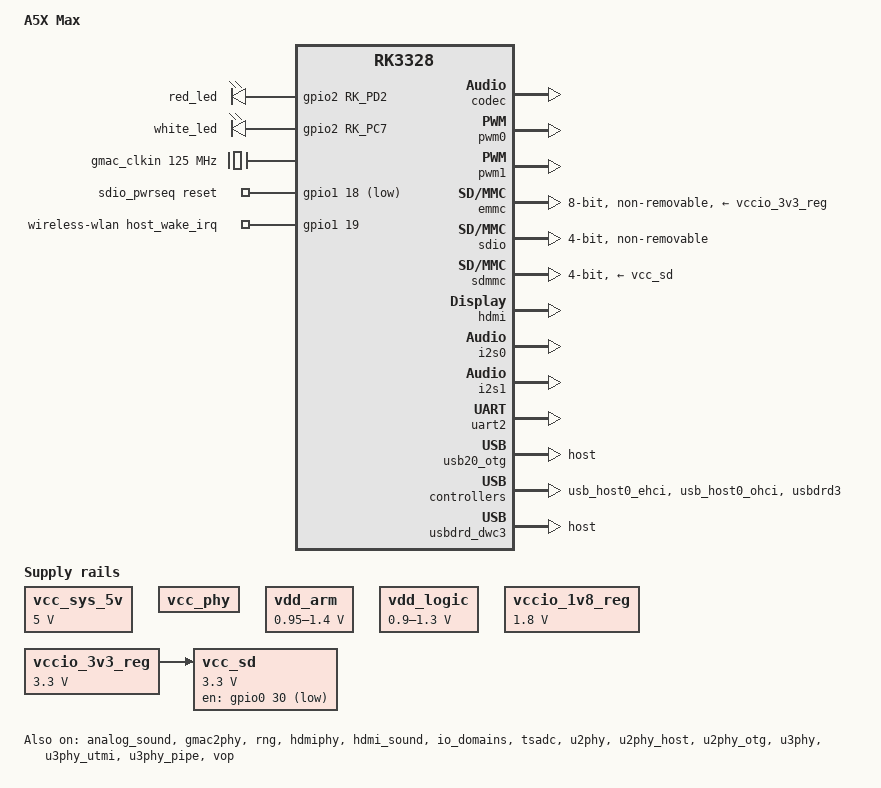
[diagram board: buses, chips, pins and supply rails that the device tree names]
// SPDX-License-Identifier: (GPL-2.0+ OR MIT)
/*
 * Copyright (c) 2017 PINE64
 */

/dts-v1/;
#include "rk3328.dtsi"

/ {
	model = "A5X Max";
	compatible = "hugsun,a5x max", "rockchip,rk3328";

    aliases {
		mmc0 = &emmc;
		mmc1 = &sdmmc;
		mmc2 = &sdio;
	};

	chosen {
		bootargs = "earlycon=uart8250,mmio32,0xff130000";
		stdout-path = "serial2:1500000n8";
	};

	leds {
		status = "okay";
		compatible = "gpio-leds";
		red-led {
			label = "red_led";
			gpios = <&gpio2 RK_PD2 GPIO_ACTIVE_HIGH>;
			linux,default-trigger = "mmc0";
			default-state = "on";
		};
		white-led {
			label = "white_led";
			gpios = <&gpio2 RK_PC7 GPIO_ACTIVE_HIGH>;
			linux,default-trigger = "none";
			default-state = "on";
		};
	};

	gmac_clkin: external-gmac-clock {
		compatible = "fixed-clock";
		clock-frequency = <125000000>;
		clock-output-names = "gmac_clkin";
		#clock-cells = <0>;
	};

	sdio_pwrseq: sdio-pwrseq {
		compatible = "mmc-pwrseq-simple";
		pinctrl-names = "default";
		pinctrl-0 = <&wifi_enable_h>;

		/*
		 * On the module itself this is one of these (depending
		 * on the actual card populated):
		 * - SDIO_RESET_L_WL_REG_ON
		 * - PDN (power down when low)
		 */
		reset-gpios = <&gpio1 18 GPIO_ACTIVE_LOW>;
	};

	vcc_sys_5v: vcc-sys-5v-regulator {
		compatible = "regulator-fixed";
		regulator-name = "vcc_sys_5v";
		regulator-min-microvolt = <5000000>;
		regulator-max-microvolt = <5000000>;
		regulator-always-on;
		regulator-boot-on;
	};

	vcc_phy: vcc-phy-regulator {
		compatible = "regulator-fixed";
		regulator-name = "vcc_phy";
		regulator-always-on;
		regulator-boot-on;
	};

	vcc_sd: sdmmc-regulator {
		compatible = "regulator-fixed";
		gpio = <&gpio0 30 GPIO_ACTIVE_LOW>;
		pinctrl-names = "default";
		pinctrl-0 = <&sdmmc0m1_pin>;
		regulator-name = "vcc_sd";
		regulator-min-microvolt = <3300000>;
		regulator-max-microvolt = <3300000>;
		vin-supply = <&vccio_3v3_reg>;
	};

	vdd_arm: vdd-center {
		compatible = "pwm-regulator";
		rockchip,pwm_id = <0>;
		rockchip,pwm_voltage = <1250000>;
		pwms = <&pwm0 0 5000 1>;
		regulator-name = "vcc_arm";
		regulator-min-microvolt = <950000>;
		regulator-max-microvolt = <1400000>;
		regulator-settling-time-up-us = <250>;
		regulator-ramp-delay = <12500>;
		regulator-always-on;
		regulator-boot-on;
	};

	vdd_logic: vdd-log {
		compatible = "pwm-regulator";
		rockchip,pwm_id = <1>;
		rockchip,pwm_voltage = <1100000>;
		pwms = <&pwm1 0 5000 1>;
		regulator-name = "vcc_log";
		regulator-min-microvolt = <900000>;
		regulator-max-microvolt = <1300000>;
		regulator-settling-time-up-us = <250>;
		regulator-ramp-delay = <12500>;
		regulator-always-on;
		regulator-boot-on;
	};

	regulators {
		compatible = "simple-bus";
		#address-cells = <1>;
		#size-cells = <0>;

		vccio_1v8_reg: regulator@0 {
			compatible = "regulator-fixed";
			regulator-name = "vccio_1v8";
			regulator-min-microvolt = <1800000>;
			regulator-max-microvolt = <1800000>;
			regulator-always-on;
		};

		vccio_3v3_reg: regulator@1 {
			compatible = "regulator-fixed";
			regulator-name = "vccio_3v3";
			regulator-min-microvolt = <3300000>;
			regulator-max-microvolt = <3300000>;
			regulator-always-on;
		};
	};

	wireless-wlan {
		compatible = "wlan-platdata";
		rockchip,grf = <&grf>;
		wifi_chip_type = "rtl8723bs";
		sdio_vref = <1800>;
		WIFI,host_wake_irq = <&gpio1 19 GPIO_ACTIVE_HIGH>;
		status = "okay";
	};
};

&analog_sound {
	status = "okay";
};

&codec {
	status = "okay";
};

&cpu0 {
	cpu-supply = <&vdd_arm>;
};

&cpu1 {
	cpu-supply = <&vdd_arm>;
};

&cpu2 {
	cpu-supply = <&vdd_arm>;
};

&cpu3 {
	cpu-supply = <&vdd_arm>;
};

&pwm0 {
	status = "okay";
};

&pwm1 {
	status = "okay";
};

&emmc {
	max-frequency = <150000000>;
	bus-width = <8>;
	cap-mmc-highspeed;
	mmc-hs200-1_8v;
	non-removable;
	num-slots = <1>;
	pinctrl-names = "default";
	pinctrl-0 = <&emmc_clk &emmc_cmd &emmc_bus8>;
	vmmc-supply = <&vccio_3v3_reg>;
	vqmmc-supply = <&vccio_1v8_reg>;
	status = "okay";
};

&sdio {
	bus-width = <4>;
	cap-sd-highspeed;
	cap-sdio-irq;
	keep-power-in-suspend;
	max-frequency = <150000000>;
	mmc-pwrseq = <&sdio_pwrseq>;
	non-removable;
	pinctrl-names = "default";
	pinctrl-0 = <&sdmmc1_bus4 &sdmmc1_cmd &sdmmc1_clk>;
	status = "okay";
};

&sdmmc {
	bus-width = <4>;
	cap-mmc-highspeed;
	cap-sd-highspeed;
	disable-wp;
	max-frequency = <150000000>;
	num-slots = <1>;
	pinctrl-names = "default";
	pinctrl-0 = <&sdmmc0_clk &sdmmc0_cmd &sdmmc0_dectn &sdmmc0_bus4>;
	supports-sd;
	status = "okay";
	vmmc-supply = <&vcc_sd>;
};

&gmac2phy {
	phy-supply = <&vcc_phy>;
	clock_in_out = "output";
	assigned-clock-rate = <50000000>;
    assigned-clocks = <&cru SCLK_MAC2PHY>;
	assigned-clock-parents = <&cru SCLK_MAC2PHY_SRC>;
	status = "okay";
};

&gmac2io {
	assigned-clocks = <&cru SCLK_MAC2IO>, <&cru SCLK_MAC2IO_EXT>;
	assigned-clock-parents = <&gmac_clkin>, <&gmac_clkin>;
	clock_in_out = "input";
	phy-handle = <&rtl8211f>;
	phy-supply = <&vccio_3v3_reg>;
	phy-mode = "rgmii";
	pinctrl-names = "default";
	pinctrl-0 = <&rgmiim1_pins>;
	snps,aal;
	snps,pbl = <0x4>;
	tx_delay = <0x26>;
	rx_delay = <0x11>;
	status = "disabled";

	mdio {
		compatible = "snps,dwmac-mdio";
		#address-cells = <1>;
		#size-cells = <0>;

		rtl8211f: ethernet-phy@0 {
			reg = <0>;
			reset-delay-us = <30000>;
			reset-assert-us = <30000>;
			reset-deassert-us = <50000>;
			reset-gpios = <&gpio2 RK_PC1 GPIO_ACTIVE_LOW>;
		};
	};
};

&gpu {
	mali-supply = <&vdd_logic>;
};

&rng {
	status = "okay";
};

&hdmi {
	status = "okay";
	#sound-dai-cells = <0>;
	ddc-i2c-scl-high-time-ns = <9625>;
	ddc-i2c-scl-low-time-ns = <10000>;
};

&hdmiphy {
	status = "okay";
};

&hdmi_sound {
	status = "okay";
};

&i2s0 {
        status = "okay";
};

&i2s1 {
        status = "okay";
};

&codec {
        status = "okay";
};

&io_domains {
	status = "okay";

	vccio1-supply = <&vccio_3v3_reg>;
	vccio2-supply = <&vccio_1v8_reg>;
	vccio3-supply = <&vccio_3v3_reg>;
	vccio4-supply = <&vccio_1v8_reg>;
	vccio5-supply = <&vccio_3v3_reg>;
	vccio6-supply = <&vccio_3v3_reg>;
	pmuio-supply = <&vccio_3v3_reg>;
};

&pinctrl {

	sdio-pwrseq {
		wifi_enable_h: wifi-enable-h {
		rockchip,pins =
			<1 18 RK_FUNC_GPIO &pcfg_pull_none>;
		};
	};

	usb2 {
		usb20_host_drv: usb20-host-drv {
			rockchip,pins = <0 RK_PA2 RK_FUNC_GPIO &pcfg_pull_none>;
		};
	};

	usb3 {
		usb30_host_drv: usb30-host-drv {
			rockchip,pins = <0 RK_PA0 RK_FUNC_GPIO &pcfg_pull_none>;
		};
	};

};

&tsadc {
	rockchip,hw-tshut-mode = <0>;
	rockchip,hw-tshut-polarity = <0>;
	status = "okay";
};

&uart2 {
	status = "okay";
};

&u2phy {
	status = "okay";
};

&u2phy_host {
	status = "okay";
};

&u2phy_otg {
	status = "okay";
};

&usb20_otg {
	dr_mode = "host";
	status = "okay";
};

&usb_host0_ehci {
	status = "okay";
};

&usb_host0_ohci {
	status = "okay";
};

&u3phy {
       status = "okay";
};

&u3phy_utmi {
       status = "okay";
};

&u3phy_pipe {
       status = "okay";
};

&usbdrd3 {
	status = "okay";
};

&usbdrd_dwc3 {
	dr_mode = "host";
	status = "okay";
};

&vop {
	status = "okay";
};

&vop_mmu {
	status = "okay";
};

&grf_gpio {
	status = "okay";
};

&cpu0_opp_table {

	rockchip,leakage-voltage-sel = <
		1   10    0
		11  254   1
	>;
	nvmem-cells = <&cpu_leakage>;
	nvmem-cell-names = "cpu_leakage";

	opp-408000000 {
		opp-hz = /bits/ 64 <408000000>;
		opp-microvolt = <985000>;
		clock-latency-ns = <40000>;
		opp-suspend;
		status = "disabled";
	};
	opp-600000000 {
		opp-hz = /bits/ 64 <600000000>;
		opp-microvolt = <1025000>;
		clock-latency-ns = <40000>;
	};
	opp-816000000 {
		opp-hz = /bits/ 64 <816000000>;
		opp-microvolt = <1075000>;
		clock-latency-ns = <40000>;
	};
	opp-1008000000 {
		opp-hz = /bits/ 64 <1008000000>;
		opp-microvolt = <1175000>;
		clock-latency-ns = <40000>;
	};
	opp-1200000000 {
		opp-hz = /bits/ 64 <1200000000>;
		opp-microvolt = <1300000>;
		clock-latency-ns = <40000>;
	};
	opp-1296000000 {
		opp-hz = /bits/ 64 <1296000000>;
		opp-microvolt = <1350000>;
		clock-latency-ns = <40000>;
	};
	opp-1392000000 {
		opp-hz = /bits/ 64 <1392000000>;
		opp-microvolt = <1400000>;
		clock-latency-ns = <40000>;
		status = "disabled";
	};
	opp-1512000000 {
		opp-hz = /bits/ 64 <1512000000>;
		opp-microvolt = <1400000>;
		clock-latency-ns = <40000>;
		status = "disabled";
	};
};
